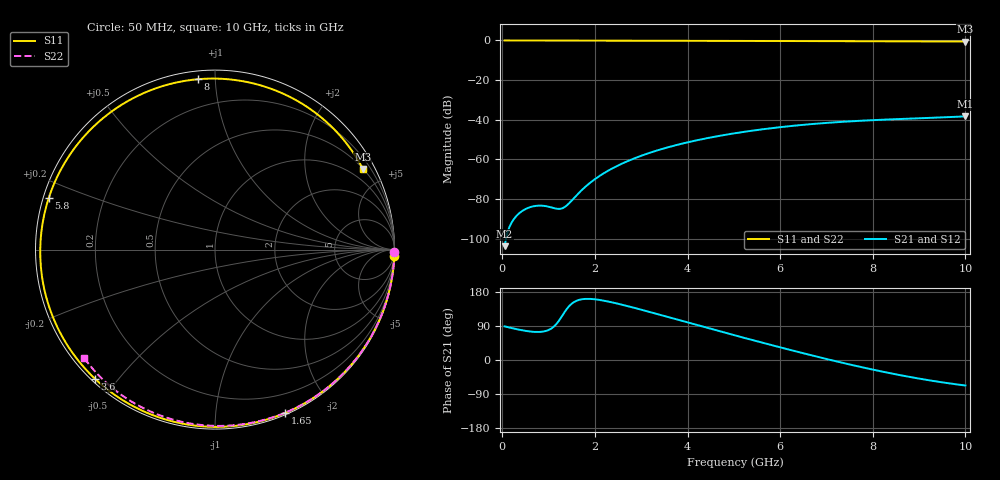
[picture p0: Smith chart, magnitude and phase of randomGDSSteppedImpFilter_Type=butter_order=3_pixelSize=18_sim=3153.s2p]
! freq	dB(S11)	phase(S11)	dB(S12)	phase(S12)
!  dB(S21)	phase(S21)	dB(S22)	phase(S22)
!S-par simulation data
#  GHz  S  DB  R 50
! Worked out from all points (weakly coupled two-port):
!   200 points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, 50 MHz to 10 GHz, reference 50 ohm
!   highest |S21| = -38.31 dB at 10 GHz (marker M1); lowest = -103.8 dB at 50 MHz (marker M2)
!   lowest |S11| = -0.6 dB at 10 GHz (marker M3), VSWR 31.51, Z = 25.6 + j193 ohm
!   |S11| at or under -10 dB: nowhere
!   |S22| runs from -0.5 to 0.0 dB; largest |S21 - S12| = 0
!   S11 on the Smith chart (normalised r, x): 50 MHz: 0, -54; 1.65 GHz: 0.02, -1.52; 3.6 GHz: 0.01, -0.44; 5.8 GHz: 0.02, +0.15; 8 GHz: 0.04, +0.90; 10 GHz: 0.51, +3.85
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0.05  -0.00 -2.1  -103.80 88.7  -103.80 88.7  -0.00 -0.8
0.35  -0.02 -14.7  -87.50 80.3  -87.50 80.3  -0.01 -5.7
0.7  -0.04 -29.2  -83.56 74.1  -83.56 74.1  -0.01 -11.3
1.1  -0.06 -45.4  -84.50 86.7  -84.50 86.7  -0.02 -17.7
1.5  -0.08 -61.1  -80.74 148.7  -80.74 148.7  -0.03 -24.0
1.65  -0.08 -66.8  -77.01 158.4  -77.01 158.4  -0.03 -26.4
1.75  -0.09 -70.5  -74.74 160.8  -74.74 160.8  -0.04 -27.9
2.05  -0.10 -81.5  -69.16 159.4  -69.16 159.4  -0.04 -32.6
2.45  -0.11 -95.6  -63.67 149.9  -63.67 149.9  -0.05 -38.8
2.9  -0.13 -110.8  -59.06 136.0  -59.06 136.0  -0.06 -45.7
3.4  -0.15 -126.8  -55.10 119.4  -55.10 119.4  -0.07 -53.1
3.6  -0.16 -133.0  -53.77 112.7  -53.77 112.7  -0.08 -56.1
4.35  -0.19 -155.4  -49.64 87.4  -49.64 87.4  -0.10 -67.0
5.05  -0.22 -175.7  -46.72 64.1  -46.72 64.1  -0.12 -76.8
5.8  -0.27 162.7  -44.30 39.8  -44.30 39.8  -0.15 -87.1
6.7  -0.32 136.2  -42.16 11.7  -42.16 11.7  -0.19 -99.0
7.4  -0.37 114.8  -40.97 -9.0  -40.97 -9.0  -0.23 -108.0
8  -0.41 95.7  -40.21 -25.4  -40.21 -25.4  -0.28 -115.5
8.35  -0.43 84.3  -39.85 -34.2  -39.85 -34.2  -0.31 -119.9
8.75  -0.45 71.0  -39.48 -43.6  -39.48 -43.6  -0.34 -124.9
9.15  -0.48 57.5  -39.14 -52.2  -39.14 -52.2  -0.38 -129.8
10  -0.55 28.6  -38.31 -67.3  -38.31 -67.3  -0.48 -140.3
